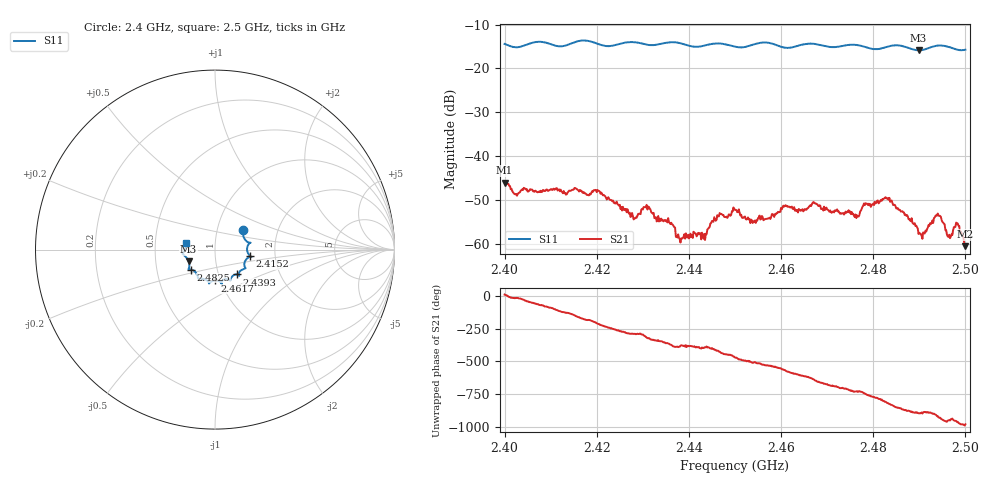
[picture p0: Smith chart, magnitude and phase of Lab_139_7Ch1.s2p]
# Hz S RI R 50
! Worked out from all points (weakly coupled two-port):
!   601 points, 2.4 GHz to 2.5 GHz, reference 50 ohm
!   highest |S21| = -46.06 dB at 2.4 GHz (marker M1); lowest = -60.6 dB at 2.5 GHz (marker M2)
!   lowest |S11| = -15.9 dB at 2.4898 GHz (marker M3), VSWR 1.38, Z = 36.9 - j4.87 ohm
!   |S11| at or under -10 dB: start of sweep to end of sweep
!   S12 and S22 are empty: the file has one direction only
!   S11 on the Smith chart (normalised r, x): 2.4 GHz: 1.33, +0.30; 2.4152 GHz: 1.48, -0.11; 2.4393 GHz: 1.23, -0.35; 2.4617 GHz: 0.94, -0.33; 2.4825 GHz: 0.75, -0.17; 2.5 GHz: 0.72, +0.05
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2.4e9  0.1554 0.1098  0.00489 0.000903  0 0  0 0
2.4025e9  0.16 0.0689  0.00356 -0.000967  0 0  0 0
2.415167e9  0.1955 -0.0363  -0.00369 -0.00223  0 0  0 0
2.416667e9  0.2038 -0.0415  -0.00397 -0.000575  0 0  0 0
2.420167e9  0.1861 -0.044  -0.00346 0.00218  0 0  0 0
2.428333e9  0.1691 -0.1045  0.000685 0.00182  0 0  0 0
2.431e9  0.1468 -0.1142  0.00192 0.00151  0 0  0 0
2.433333e9  0.1331 -0.133  0.00194 0.000714  0 0  0 0
2.439333e9  0.1239 -0.1385  0.00125 -0.000393  0 0  0 0
2.443167e9  0.0897 -0.1574  0.00088 -0.000717  0 0  0 0
2.45e9  0.0664 -0.1644  -0.000899 -0.00228  0 0  0 0
2.454333e9  0.0349 -0.1865  -0.00155 -0.000985  0 0  0 0
2.461667e9  0.00104 -0.1717  -0.00197 0.00176  0 0  0 0
2.466667e9  -0.0334 -0.1888  4.45e-05 0.0028  0 0  0 0
2.476333e9  -0.0944 -0.1596  0.00191 -0.000383  0 0  0 0
2.4825e9  -0.1327 -0.1111  5.1e-06 -0.0033  0 0  0 0
2.483333e9  -0.1401 -0.1104  -0.00076 -0.00307  0 0  0 0
2.489833e9  -0.1474 -0.0643  -0.00128 -4.52e-05  0 0  0 0
2.494167e9  -0.1809 -0.0232  -0.00181 0.00105  0 0  0 0
2.4965e9  -0.1748 -0.0142  -0.000773 0.000997  0 0  0 0
2.498167e9  -0.1639 0.00409  -0.000699 0.00153  0 0  0 0
2.5e9  -0.1597 0.0352  -0.000117 0.000925  0 0  0 0
